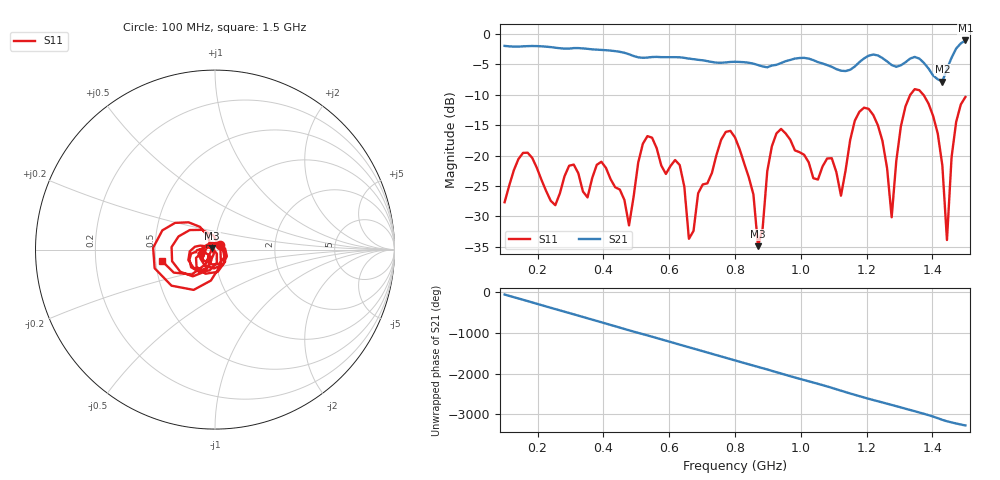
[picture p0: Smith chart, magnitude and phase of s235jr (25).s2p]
! NanoVNA-App
! Date: 2025-09-26 09:44:59
! Start: 100MHz Stop: 1,5GHz Points: 101
! S-Parameter data: F S11 S21 S12 S22
# Hz S RI R 50
!  Frequency  S11_Real  S11_Imag  S21_Real  S21_Imag  S12_Real  S12_Imag  S22_Real  S22_Imag
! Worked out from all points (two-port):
!   101 points, 100 MHz to 1.5 GHz, reference 50 ohm
!   highest |S21| = -1.06 dB at 1.5 GHz (marker M1); lowest = -7.8 dB at 1.43 GHz (marker M2)
!   |S21| within 3 dB of the highest: start of sweep to 662.4 MHz; 1.191 GHz to 1.251 GHz (59.58 MHz wide, 4.88 % of centre) (the widest 2 of 5)
!   lowest |S11| = -34.9 dB at 870 MHz (marker M3), VSWR 1.04, Z = 48.5 + j0.938 ohm
!   |S11| at or under -10 dB: start of sweep to 1.333 GHz; 1.372 GHz to end of sweep
!   S12 and S22 are empty: the file has one direction only
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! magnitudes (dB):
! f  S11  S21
! 100 MHz  -27.7  -2.0
! 156 MHz  -19.6  -2.0
! 338 MHz  -25.9  -2.4
! 394 MHz  -21.0  -2.6
! 478 MHz  -31.5  -3.3
! 520 MHz  -18.1  -3.9
! 576 MHz  -21.6  -3.8
! 632 MHz  -21.6  -3.8
! 660 MHz  -33.7  -4.0
! 800 MHz  -17.0  -4.6
! 870 MHz  -34.9  -5.1
! 926 MHz  -16.3  -5.1
! 1.038 GHz  -23.7  -4.3
! 1.122 GHz  -26.6  -6.0
! 1.206 GHz  -12.3  -3.6
! 1.276 GHz  -30.2  -5.1
! 1.304 GHz  -15.2  -5.1
! 1.346 GHz  -9.1  -3.8
! 1.43 GHz  -21.6  -7.8
! 1.444 GHz  -33.9  -5.7
! 1.458 GHz  -20.3  -3.9
! 1.5 GHz  -10.4  -1.1
